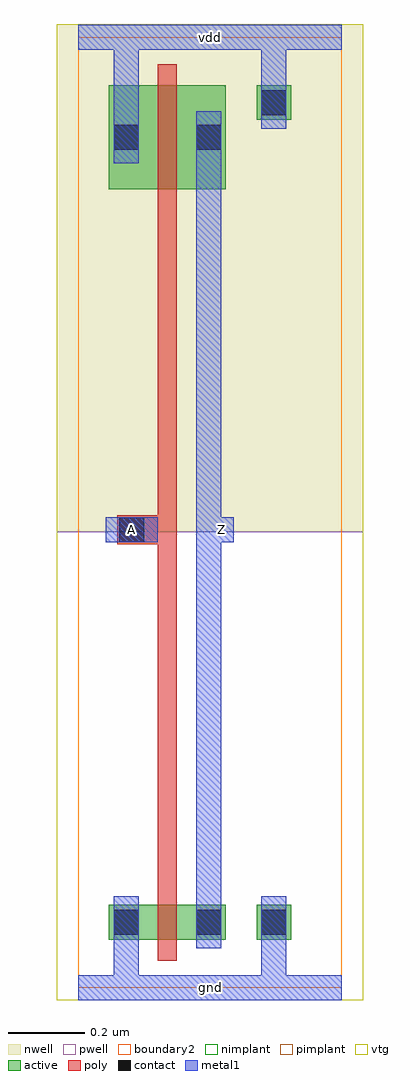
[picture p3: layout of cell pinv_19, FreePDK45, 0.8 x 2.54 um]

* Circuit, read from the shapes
.subckt pinv_19 A Z gnd vdd
M1 Z A gnd gnd nfet w=0.09u l=0.05u
M2 Z A vdd vdd pfet w=0.27u l=0.05u
.ends

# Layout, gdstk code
import gdstk
lib = gdstk.Library(unit=1e-6, precision=5e-10)
def R(c, l, rs):  # rectangles x0, y0, x1, y1
    for r in rs: c.add(gdstk.rectangle(r[:2], r[2:], *l))
active = (1, 0)
pwell = (2, 0)
nwell = (3, 0)
nimplant = (4, 0)
pimplant = (5, 0)
vtg = (6, 0)
poly = (9, 0)
contact = (10, 0)
metal1 = (11, 0)
boundary2 = (239, 0)

contact_10 = lib.new_cell('contact_10')
R(contact_10, active, [(0,0.0225,0.09,0.1125)])
R(contact_10, nwell, [(-0.055,-0.0325,0.145,0.1675)])
R(contact_10, pimplant, [(0,0.0225,0.09,0.1125)])
R(contact_10, contact, [(0.0125,0.035,0.0775,0.1)])
R(contact_10, metal1, [(0.0125,0,0.0775,0.135)])
R(contact_10, boundary2, [(-0.055,-0.0325,0.145,0.1675)])

pmos_m1_w0_270_sm1_dm1_d = lib.new_cell('pmos_m1_w0_270_sm1_dm1_da_p')
R(pmos_m1_w0_270_sm1_dm1_d, active, [(0,0,0.305,0.27)])
R(pmos_m1_w0_270_sm1_dm1_d, nwell, [(-0.08,-0.08,0.385,0.35)])
R(pmos_m1_w0_270_sm1_dm1_d, pimplant, [(0,0,0.305,0.27)])
R(pmos_m1_w0_270_sm1_dm1_d, vtg, [(-0.08,-0.08,0.385,0.35)])
R(pmos_m1_w0_270_sm1_dm1_d, poly, [(0.1275,-0.055,0.1775,0.325), (0.1275,-0.055,0.1775,0.325)])
R(pmos_m1_w0_270_sm1_dm1_d, metal1, [(0.0125,0.0675,0.0775,0.2025), (0.2275,0.0675,0.2925,0.2025)])
R(pmos_m1_w0_270_sm1_dm1_d, boundary2, [(-0.08,-0.08,0.385,0.35)])
pmos_m1_w0_270_sm1_dm1_d.add(gdstk.Reference(contact_10, (0,0.0675)))
pmos_m1_w0_270_sm1_dm1_d.add(gdstk.Reference(contact_10, (0.215,0.0675)))
pmos_m1_w0_270_sm1_dm1_d.add(gdstk.Label('G', (0.1525,0.135), layer=9, texttype=0))
pmos_m1_w0_270_sm1_dm1_d.add(gdstk.Label('S', (0.045,0.135), layer=11, texttype=0))
pmos_m1_w0_270_sm1_dm1_d.add(gdstk.Label('D', (0.26,0.135), layer=11, texttype=0))

contact_9 = lib.new_cell('contact_9')
R(contact_9, active, [(0,0.0225,0.09,0.1125)])
R(contact_9, pwell, [(-0.055,-0.0325,0.145,0.1675)])
R(contact_9, nimplant, [(0,0.0225,0.09,0.1125)])
R(contact_9, contact, [(0.0125,0.035,0.0775,0.1)])
R(contact_9, metal1, [(0.0125,0,0.0775,0.135)])
R(contact_9, boundary2, [(-0.055,-0.0325,0.145,0.1675)])

nmos_m1_w0_090_sm1_dm1_d = lib.new_cell('nmos_m1_w0_090_sm1_dm1_da_p')
R(nmos_m1_w0_090_sm1_dm1_d, active, [(0,0,0.305,0.09)])
R(nmos_m1_w0_090_sm1_dm1_d, pwell, [(-0.08,-0.08,0.385,0.17)])
R(nmos_m1_w0_090_sm1_dm1_d, nimplant, [(0,0,0.305,0.09)])
R(nmos_m1_w0_090_sm1_dm1_d, vtg, [(-0.08,-0.08,0.385,0.17)])
R(nmos_m1_w0_090_sm1_dm1_d, poly, [(0.1275,-0.055,0.1775,0.145), (0.1275,-0.055,0.1775,0.145)])
R(nmos_m1_w0_090_sm1_dm1_d, metal1, [(0.0125,-0.0225,0.0775,0.1125), (0.2275,-0.0225,0.2925,0.1125)])
R(nmos_m1_w0_090_sm1_dm1_d, boundary2, [(-0.08,-0.08,0.385,0.17)])
nmos_m1_w0_090_sm1_dm1_d.add(gdstk.Reference(contact_9, (0,-0.0225)))
nmos_m1_w0_090_sm1_dm1_d.add(gdstk.Reference(contact_9, (0.215,-0.0225)))
nmos_m1_w0_090_sm1_dm1_d.add(gdstk.Label('G', (0.1525,0.045), layer=9, texttype=0))
nmos_m1_w0_090_sm1_dm1_d.add(gdstk.Label('S', (0.045,0.045), layer=11, texttype=0))
nmos_m1_w0_090_sm1_dm1_d.add(gdstk.Label('D', (0.26,0.045), layer=11, texttype=0))

contact_11 = lib.new_cell('contact_11')
R(contact_11, active, [(0,0.0225,0.09,0.1125)])
R(contact_11, nwell, [(-0.055,-0.0325,0.145,0.1675)])
R(contact_11, nimplant, [(0,0.0225,0.09,0.1125)])
R(contact_11, contact, [(0.0125,0.035,0.0775,0.1)])
R(contact_11, metal1, [(0.0125,0,0.0775,0.135)])
R(contact_11, boundary2, [(-0.055,-0.0325,0.145,0.1675)])

contact_12 = lib.new_cell('contact_12')
R(contact_12, active, [(0,0.0225,0.09,0.1125)])
R(contact_12, pwell, [(-0.055,-0.0325,0.145,0.1675)])
R(contact_12, pimplant, [(0,0.0225,0.09,0.1125)])
R(contact_12, contact, [(0.0125,0.035,0.0775,0.1)])
R(contact_12, metal1, [(0.0125,0,0.0775,0.135)])
R(contact_12, boundary2, [(-0.055,-0.0325,0.145,0.1675)])

contact_13 = lib.new_cell('contact_13')
R(contact_13, poly, [(0.03,0,0.105,0.075)])
R(contact_13, contact, [(0.035,0.005,0.1,0.07)])
R(contact_13, metal1, [(0,0.005,0.135,0.07)])
R(contact_13, boundary2, [(0,0,0.135,0.075)])

pinv_19 = lib.new_cell('pinv_19')
R(pinv_19, pwell, [(-0.055,-0.0325,0.7425,1.1875)])
R(pinv_19, nwell, [(-0.055,1.1875,0.7425,2.51)])
R(pinv_19, vtg, [(-0.055,-0.0325,0.7425,1.1875), (-0.055,1.1875,0.7425,2.51)])
R(pinv_19, poly, [(0.2075,0.27,0.2575,2.025), (0.14,1.155,0.2075,1.23)])
R(pinv_19, metal1, [(0,-0.0325,0.6875,0.0325), (0.0925,-0.0325,0.1575,0.1025), (0.4775,0,0.5425,0.17), (0.3075,0.1025,0.3725,2.2825), (0.0725,1.16,0.2075,1.225), (0.34,1.16,0.405,1.225), (0.0925,2.1475,0.1575,2.5075), (0.4775,2.305,0.5425,2.475), (0,2.4425,0.6875,2.5075)])
R(pinv_19, boundary2, [(0,0,0.6875,2.475), (0,0,0.6875,2.475)])
pinv_19.add(gdstk.Reference(pmos_m1_w0_270_sm1_dm1_d, (0.08,2.08)))
pinv_19.add(gdstk.Reference(nmos_m1_w0_090_sm1_dm1_d, (0.08,0.125)))
pinv_19.add(gdstk.Reference(contact_11, (0.465,2.2375)))
pinv_19.add(gdstk.Reference(contact_12, (0.465,0.1025)))
pinv_19.add(gdstk.Reference(contact_13, (0.0725,1.155)))
pinv_19.add(gdstk.Label('A', (0.14,1.1925), layer=11, texttype=0))
pinv_19.add(gdstk.Label('Z', (0.3725,1.1925), layer=11, texttype=0))
pinv_19.add(gdstk.Label('gnd', (0.344,0), layer=11, texttype=0))
pinv_19.add(gdstk.Label('vdd', (0.344,2.475), layer=11, texttype=0))

lib.write_gds('pinv_19.gds')
